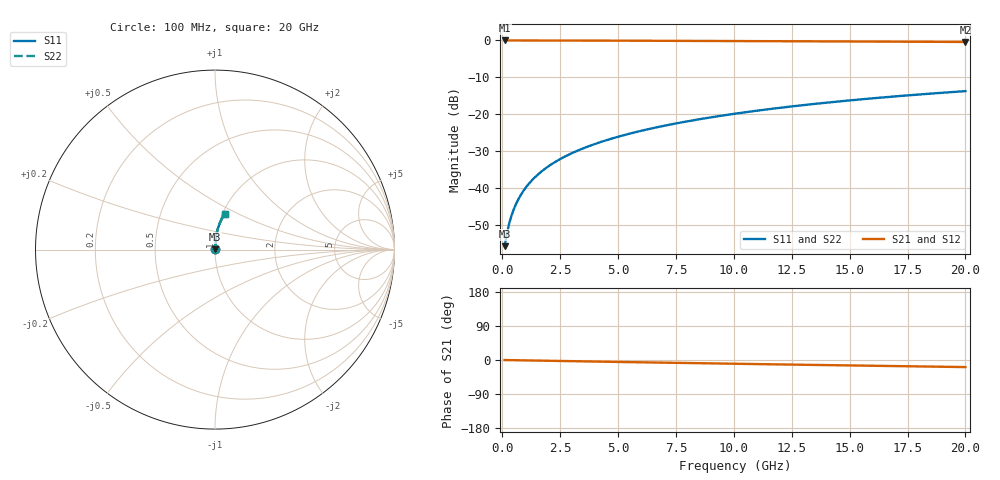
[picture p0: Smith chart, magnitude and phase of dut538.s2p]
! Touchstone file exported from HFSS 2024.1.0
!  File:  C:/UserFiles/LocalFiles/RDL_TSV_Batchsim/temp_RDL_top_538_1779680428.aedt
!  Generated:  11:42:40 AM May 25, 2026
!  Design:  RDL_top
!  Project:  temp_RDL_top_538_1779680428
!  Setup:  Setup1
!  Solution:  Sweep
! Variables:
!  dtsv = 10.80580581um
!  hbump = 3um
!  htsv = 82.56um
!  ldown = 100um
!  lrdl = 248.27um
!  p = 40
!  p1 = 41.31um
!  rhole = 1um
!  t = 450um
!  tdown = 3.915915916um
!  trdl = 4.85um
!  wdown = 15.38538539um
!  wrdl = 15.94um
# GHz S MA R 50.000000
! Terminal data exported
! Port[1] = Box2_T1
! Port[2] = Box2_T2
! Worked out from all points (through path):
!   200 points, 100 MHz to 20 GHz, reference 50 ohm
!   highest |S21| = -0.01 dB at 100 MHz (marker M1); lowest = -0.4 dB at 20 GHz (marker M2)
!   group delay of S21, straight-line fit = 2.58 ps
!   lowest |S11| = -55.7 dB at 100 MHz (marker M3), VSWR 1.00, Z = 50.1 + j0.106 ohm
!   |S11| at or under -10 dB: start of sweep to end of sweep
!   |S22| runs from -55.7 to -13.7 dB; largest |S21 - S12| = 5.4e-15
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0.1  0.001649 39.9  0.9987 -0.1  0.9987 -0.1  0.001649 39.9
! Gamma 0 0 0 0
! Port Impedance 50 0 50 0
0.2  0.002464 57.7  0.9987 -0.2  0.9987 -0.2  0.002464 57.7
0.3  0.00337 66.1  0.9986 -0.3  0.9986 -0.3  0.00337 66.1
0.4  0.004302 71.0  0.9986 -0.4  0.9986 -0.4  0.004302 71.0
0.5  0.005248 74.2  0.9985 -0.5  0.9985 -0.5  0.005248 74.2
0.6  0.006203 76.4  0.9984 -0.6  0.9984 -0.6  0.006203 76.4
0.8  0.008133 79.4  0.9983 -0.8  0.9983 -0.8  0.008133 79.4
1.1  0.01106 81.8  0.9982 -1.2  0.9982 -1.2  0.01106 81.8
1.5  0.01498 83.6  0.9979 -1.6  0.9979 -1.6  0.01498 83.6
1.8  0.01794 84.3  0.9976 -1.9  0.9976 -1.9  0.01794 84.3
2.1  0.0209 84.8  0.9973 -2.2  0.9973 -2.2  0.0209 84.8
2.7  0.02683 85.4  0.9965 -2.8  0.9965 -2.8  0.02683 85.4
3.5  0.03477 85.7  0.9953 -3.6  0.9953 -3.6  0.03477 85.7
4.2  0.04175 85.8  0.994 -4.3  0.994 -4.3  0.04175 85.8
5  0.04978 85.7  0.9924 -5.1  0.9924 -5.1  0.04979 85.7
5.9  0.05891 85.5  0.9905 -6.0  0.9905 -6.0  0.05891 85.5
6.8  0.06812 85.2  0.9884 -6.9  0.9884 -6.9  0.06813 85.2
8.4  0.08473 84.4  0.9845 -8.4  0.9845 -8.4  0.08473 84.4
10.1  0.1026 83.3  0.9802 -10.0  0.9802 -10.0  0.1026 83.3
13.4  0.1376 80.7  0.9716 -12.9  0.9716 -12.9  0.1376 80.7
16.7  0.1722 77.8  0.9626 -15.8  0.9626 -15.8  0.1722 77.8
20  0.2061 74.9  0.9532 -18.7  0.9532 -18.7  0.2061 74.9
